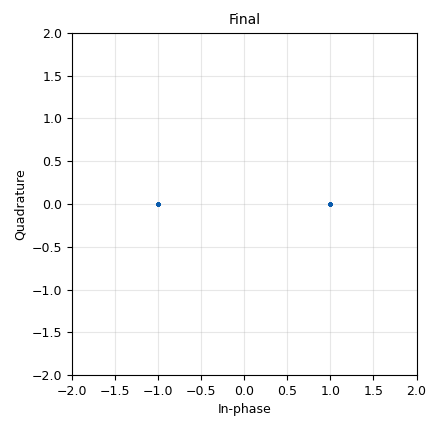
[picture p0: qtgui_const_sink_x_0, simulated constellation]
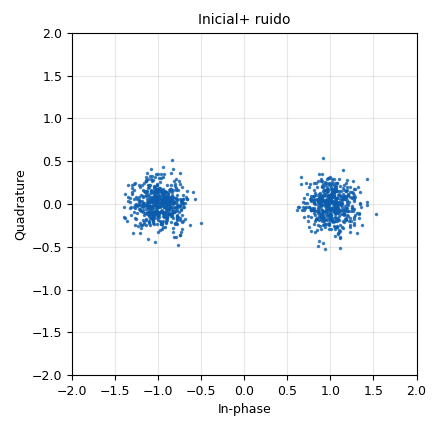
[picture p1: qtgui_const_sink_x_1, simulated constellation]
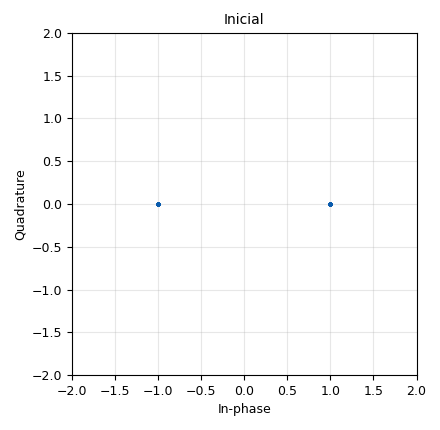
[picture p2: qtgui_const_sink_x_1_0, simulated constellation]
options:
  parameters:
    author: Leandro
    generate_options: qt_gui
    id: BER
    output_language: python
    title: Not titled yet
  states: {}

blocks:
- name: EbN0
  id: variable_qtgui_range
  parameters:
    rangeType: int
    start: '-100'
    step: '1'
    stop: '100'
    value: '10'
  states: {}
- name: const
  id: variable
  parameters:
    value: '[digital.constellation_bpsk(), digital.constellation_qpsk(), digital.constellation_8psk()]'
  states: {}
- name: const_type
  id: variable
  parameters:
    value: '0'
  states: {}
- name: max_valid
  id: variable
  parameters:
    value: '32000'
  states: {}
- name: samp_rate
  id: variable
  parameters:
    value: '32000'
  states: {}
- name: variable_constellation_0
  id: variable_constellation
  parameters:
    const_points: '[-1-1j, -1+1j, 1+1j, 1-1j]'
    dims: '1'
    normalization: digital.constellation.AMPLITUDE_NORMALIZATION
    precision: '8'
    rot_sym: '4'
    sym_map: '[0, 1, 3, 2]'
    type: calcdist
  states: {}
- name: analog_noise_source_x_0
  id: analog_noise_source_x
  parameters:
    amp: |
      1.0 / math.sqrt(2.0 * const[const_type].bits_per_symbol() * 10**(EbN0/10))
    noise_type: analog.GR_GAUSSIAN
    seed: '0'
    type: complex
  states: {}
- name: analog_random_source_x_0
  id: analog_random_source_x
  parameters:
    max: const[const_type].arity()
    min: '0'
    num_samps: 'int(10e6) '
    repeat: 'False'
    type: byte
  states: {}
- name: blocks_add_xx_0
  id: blocks_add_xx
  parameters:
    type: complex
  states: {}
- name: blocks_throttle2_0
  id: blocks_throttle2
  parameters:
    samples_per_second: '320000'
    type: byte
  states: {}
- name: digital_chunks_to_symbols_xx_0
  id: digital_chunks_to_symbols_xx
  parameters:
    dimension: '1'
    in_type: byte
    out_type: complex
    symbol_table: const[const_type].points()
  states: {}
- name: digital_chunks_to_symbols_xx_0_0
  id: digital_chunks_to_symbols_xx
  parameters:
    dimension: '1'
    in_type: byte
    out_type: complex
    symbol_table: const[const_type].points()
  states: {}
- name: digital_constellation_decoder_cb_0
  id: digital_constellation_decoder_cb
  parameters:
    constellation: 'const[const_type].base() '
  states: {}
- name: epy_block_1
  id: epy_block
  parameters:
    _source_code: |
      from gnuradio import gr
      import numpy as np

      class dB_to_ber(gr.sync_block):
          def __init__(self):
              gr.sync_block.__init__(
                  self,
                  name="dB to BER",
                  in_sig=[np.float32],
                  out_sig=[np.float32]
              )

          def work(self, input_items, output_items):
              input_db = input_items[0]
              output = output_items[0]
              output[:] = 10 ** (input_db / 10.0)  # convertir dB a valor BER lineal
              return len(output)
  states: {}
- name: fec_ber_bf_0
  id: fec_ber_bf
  parameters:
    berminerrors: '1'
    test_mode: 'True'
  states: {}
- name: import_0
  id: import
  parameters:
    imports: import math
  states: {}
- name: qtgui_const_sink_x_0
  id: qtgui_const_sink_x
  parameters:
    name: Final
    size: '1024'
    type: complex
  states: {}
- name: qtgui_const_sink_x_1
  id: qtgui_const_sink_x
  parameters:
    name: Inicial+ ruido
    size: '1024'
    type: complex
  states: {}
- name: qtgui_const_sink_x_1_0
  id: qtgui_const_sink_x
  parameters:
    name: Inicial
    size: '1024'
    type: complex
  states: {}
- name: qtgui_number_sink_0
  id: qtgui_number_sink
  parameters:
    graph_type: qtgui.NUM_GRAPH_HORIZ
    max: '10'
    min: '-10'
    name: Ber
    type: float
  states: {}

connections:
- [analog_noise_source_x_0, '0', blocks_add_xx_0, '0']
- [analog_random_source_x_0, '0', blocks_throttle2_0, '0']
- [analog_random_source_x_0, '0', digital_chunks_to_symbols_xx_0, '0']
- [blocks_add_xx_0, '0', digital_constellation_decoder_cb_0, '0']
- [blocks_add_xx_0, '0', qtgui_const_sink_x_1, '0']
- [blocks_throttle2_0, '0', fec_ber_bf_0, '0']
- [digital_chunks_to_symbols_xx_0, '0', blocks_add_xx_0, '1']
- [digital_chunks_to_symbols_xx_0, '0', qtgui_const_sink_x_1_0, '0']
- [digital_chunks_to_symbols_xx_0_0, '0', qtgui_const_sink_x_0, '0']
- [digital_constellation_decoder_cb_0, '0', digital_chunks_to_symbols_xx_0_0, '0']
- [digital_constellation_decoder_cb_0, '0', fec_ber_bf_0, '1']
- [epy_block_1, '0', qtgui_number_sink_0, '0']
- [fec_ber_bf_0, '0', epy_block_1, '0']

metadata:
  file_format: 1
  grc_version: 3.10.12.0
